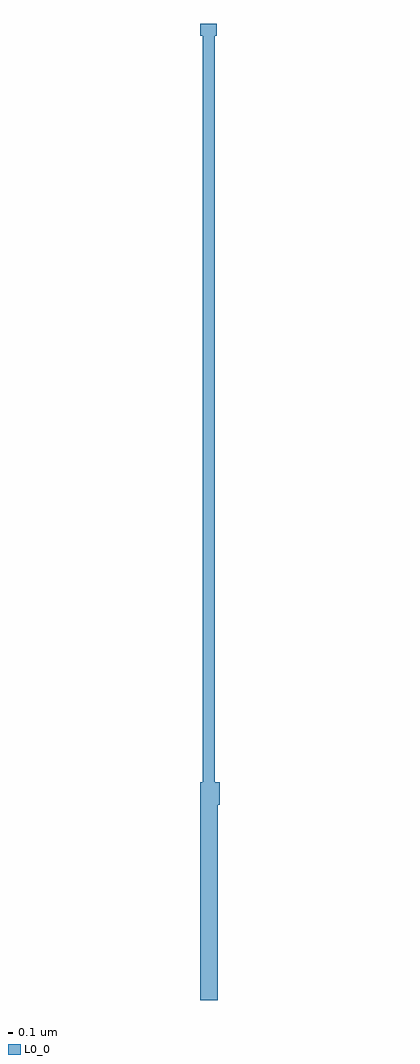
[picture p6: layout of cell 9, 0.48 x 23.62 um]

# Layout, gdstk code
import gdstk
lib = gdstk.Library(unit=1e-6, precision=1e-09)
def P(c, l, *ps):  # polygons
    for p in ps: c.add(gdstk.Polygon(p, *l))
L0_0 = (0, 0)

c_9 = lib.new_cell('9')
P(c_9, L0_0, [(1200,735.22),(1200.43,735.22),(1200.43,730),(1200,730),(1200,735.22)],
  [(1200,735.27),(1200.48,735.27),(1200.48,734.73),(1200,734.73),(1200,735.27)],
  [(1200,753.62),(1200.35,753.62),(1200.35,753.34),(1200,753.34),(1200,753.62)],
  [(1200.02,753.62),(1200.4,753.62),(1200.4,753.34),(1200.02,753.34),(1200.02,753.62)],
  [(1200.02,753.62),(1200.4,753.62),(1200.4,753.34),(1200.02,753.34),(1200.02,753.62)],
  [(1200.07,730),(1200.07,753.62),(1200.35,753.62),(1200.35,730),(1200.07,730)])

lib.write_gds('9.gds')
